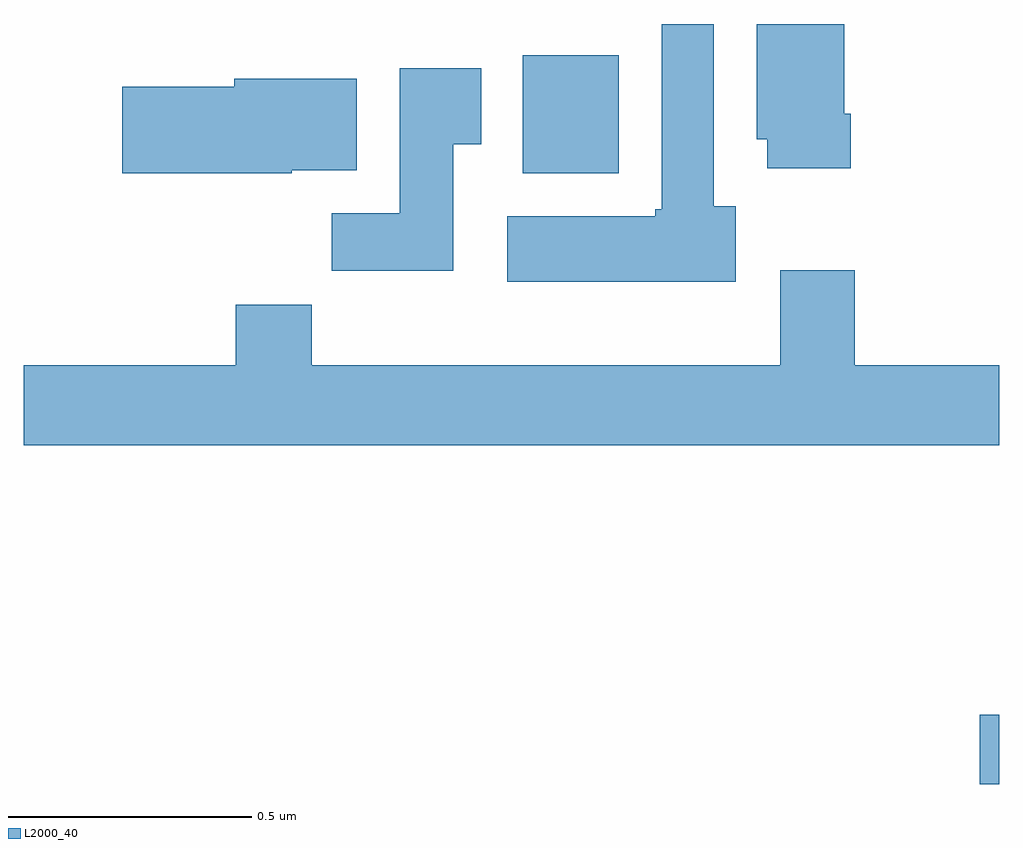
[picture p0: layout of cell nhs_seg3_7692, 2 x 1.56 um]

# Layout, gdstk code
import gdstk
lib = gdstk.Library(unit=1e-6, precision=1e-09)
def R(c, l, rs):  # rectangles x0, y0, x1, y1
    for r in rs: c.add(gdstk.rectangle(r[:2], r[2:], *l))
def P(c, l, *ps):  # polygons
    for p in ps: c.add(gdstk.Polygon(p, *l))
L2000_40 = (2000, 40)

nhs_seg3_7692 = lib.new_cell('nhs_seg3_7692')
R(nhs_seg3_7692, L2000_40, [(207.96,746.842,208,746.984), (207.023,748.094,207.22,748.336)])
P(nhs_seg3_7692, L2000_40, [(207.695,748.216),(207.682,748.216),(207.682,748.4),(207.503,748.4),(207.503,748.164),(207.524,748.164),(207.524,748.104),(207.695,748.104)],
  [(207.46,748.026),(207.415,748.026),(207.415,748.4),(207.308,748.4),(207.308,748.02),(207.295,748.02),(207.295,748.006),(206.991,748.006),(206.991,747.872),(207.46,747.872)],
  [(206.881,748.153),(206.938,748.153),(206.938,748.309),(206.771,748.309),(206.771,748.012),(206.632,748.012),(206.632,747.894),(206.881,747.894)],
  [(206.55,748.1),(206.683,748.1),(206.683,748.288),(206.432,748.288),(206.432,748.271),(206.202,748.271),(206.202,748.094),(206.55,748.094)],
  [(208,747.7),(207.704,747.7),(207.704,747.895),(207.551,747.895),(207.551,747.7),(206.591,747.7),(206.591,747.824),(206.435,747.824),(206.435,747.7),(206,747.7),(206,747.536),(208,747.536)])

lib.write_gds('nhs_seg3_7692.gds')
